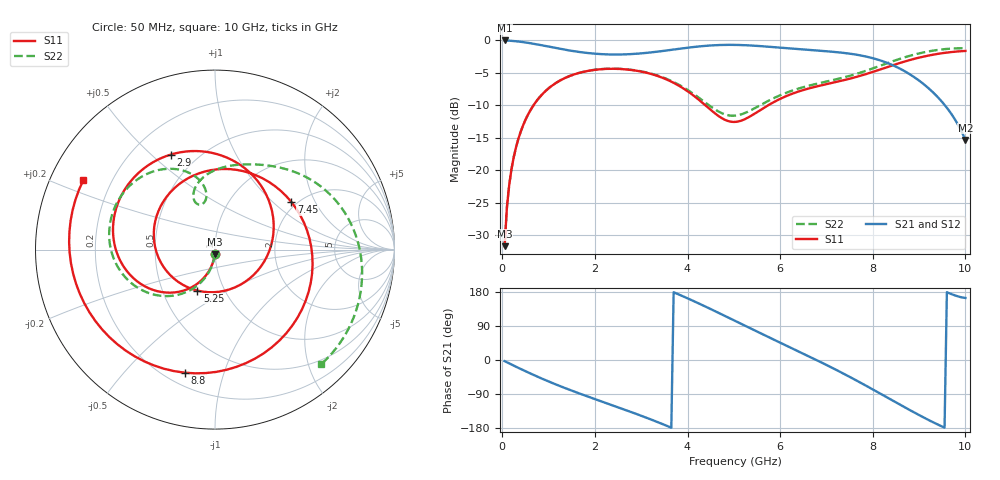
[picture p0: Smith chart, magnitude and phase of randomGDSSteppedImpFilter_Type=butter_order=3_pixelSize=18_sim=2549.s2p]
! freq	dB(S11)	phase(S11)	dB(S12)	phase(S12)
!  dB(S21)	phase(S21)	dB(S22)	phase(S22)
!S-par simulation data
#  GHz  S  DB  R 50
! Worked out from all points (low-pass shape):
!   200 points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, 50 MHz to 10 GHz, reference 50 ohm
!   highest |S21| = -0.01 dB at 50 MHz (marker M1); lowest = -15.3 dB at 10 GHz (marker M2)
!   |S21| within 3 dB of the highest: start of sweep to 8.129 GHz
!   lowest |S11| = -31.7 dB at 50 MHz (marker M3), VSWR 1.05, Z = 49.8 - j2.59 ohm
!   |S11| at or under -10 dB: start of sweep to 674.2 MHz; 4.386 GHz to 5.74 GHz (1.354 GHz wide, 26.7 % of centre)
!   |S22| runs from -31.7 to -1.2 dB; largest |S21 - S12| = 0
!   S11 on the Smith chart (normalised r, x): 50 MHz: 1.00, -0.05; 2.9 GHz: 0.36, +0.58; 5.25 GHz: 0.75, -0.36; 7.45 GHz: 1.87, +1.32; 8.8 GHz: 0.27, -0.75; 10 GHz: 0.10, +0.25
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0.05  -31.70 -93.2  -0.01 -3.0  -0.01 -3.0  -31.70 -93.0
0.1  -25.70 -96.6  -0.02 -6.1  -0.02 -6.1  -25.70 -96.0
0.2  -19.77 -103.0  -0.07 -12.1  -0.07 -12.1  -19.77 -102.0
0.5  -12.24 -121.4  -0.31 -29.5  -0.31 -29.5  -12.24 -118.8
1.05  -7.09 -152.5  -1.02 -59.2  -1.02 -59.2  -7.09 -146.9
1.75  -4.84 172.1  -1.86 -92.1  -1.86 -92.1  -4.83 -177.4
2.3  -4.37 145.5  -2.16 -116.2  -2.16 -116.2  -4.36 161.3
2.9  -4.67 115.0  -2.05 -142.6  -2.05 -142.6  -4.64 139.4
3.4  -5.59 86.0  -1.69 -166.1  -1.69 -166.1  -5.52 122.0
4.25  -9.18 19.8  -0.93 148.9  -0.93 148.9  -8.86 100.0
5.05  -12.54 -84.7  -0.69 101.8  -0.69 101.8  -11.57 108.5
5.25  -12.09 -113.3  -0.74 89.9  -0.74 89.9  -11.15 111.9
6  -9.00 164.1  -1.11 45.9  -1.11 45.9  -8.45 105.2
6.7  -7.25 102.0  -1.50 5.0  -1.50 5.0  -6.83 86.0
7.1  -6.58 65.6  -1.73 -19.2  -1.73 -19.2  -6.17 74.3
7.45  -6.00 31.8  -1.99 -41.2  -1.99 -41.2  -5.56 64.1
7.9  -5.08 -13.8  -2.56 -70.9  -2.56 -70.9  -4.57 49.9
8.35  -4.02 -59.8  -3.57 -101.6  -3.57 -101.6  -3.41 33.2
8.8  -3.02 -103.8  -5.22 -132.1  -5.22 -132.1  -2.37 13.5
9.1  -2.49 -131.5  -6.74 -151.7  -6.74 -151.7  -1.84 -0.9
9.45  -2.02 -162.0  -9.10 -173.0  -9.10 -173.0  -1.42 -18.4
10  -1.62 152.1  -15.33 163.8  -15.33 163.8  -1.20 -47.0
